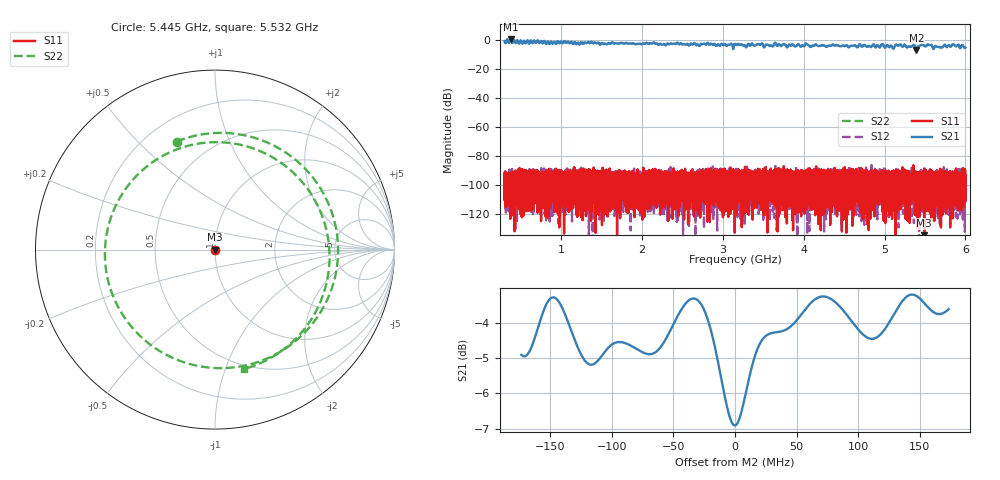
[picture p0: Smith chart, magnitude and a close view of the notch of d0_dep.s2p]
!Agilent Technologies,N5230C,SG49000117,A.08.50.07
!Agilent N5230C: A.08.50.07
!Date: Sunday, March 17, 2024 07:09:39
!Correction: S11(Off)
!S21(Off)
!S12(Off)
!S22(Off)
!S2P File: Measurements: S11, S21, S12, S22:
# Hz S  RI  R 50
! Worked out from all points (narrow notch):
!   20001 points, 300 MHz to 6 GHz, reference 50 ohm
!   highest |S21| = 0.48 dB at 374.4 MHz (marker M1); lowest = -6.9 dB at 5.393 GHz (marker M2)
!   notch at M2: 3.6 dB deep, 28.9 MHz wide at half that depth
!   lowest |S11| = -138.0 dB at 5.49 GHz (marker M3), VSWR 1.00, Z = 50 - j5.98e-06 ohm
!   |S11| at or under -10 dB: start of sweep to end of sweep
!   |S22| runs from -6.9 to 0.5 dB; largest |S21 - S12| = 1.1
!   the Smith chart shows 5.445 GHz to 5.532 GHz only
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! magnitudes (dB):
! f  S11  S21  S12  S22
! 300 MHz  -104.3  -0.8  -110.9  -0.8
! 374.4 MHz  -97.6  0.5  -109.1  0.5
! 1.25 GHz  -97.3  -1.7  -95.9  -1.7
! 1.355 GHz  -100.9  -2.3  -98.8  -2.3
! 2.2 GHz  -96.5  -3.3  -97.3  -3.3
! 3.15 GHz  -102.0  -2.7  -92.0  -2.7
! 3.275 GHz  -97.5  -4.2  -93.1  -4.1
! 3.462 GHz  -92.2  -3.3  -107.4  -3.3
! 3.599 GHz  -99.6  -3.8  -96.3  -3.7
! 3.665 GHz  -92.9  -3.6  -99.5  -3.5
! 3.98 GHz  -96.2  -3.9  -96.0  -3.8
! 4.039 GHz  -95.8  -2.9  -109.1  -2.8
! 4.1 GHz  -96.4  -4.3  -104.6  -4.2
! 5.05 GHz  -107.4  -4.9  -97.0  -4.8
! 5.35 GHz  -103.5  -3.6  -98.5  -3.6
! 5.393 GHz  -102.3  -6.9  -93.9  -6.9
! 5.49 GHz  -138.0  -4.1  -105.7  -4.1
! 5.556 GHz  -99.1  -3.7  -96.2  -3.8
! 5.616 GHz  -110.8  -5.1  -102.4  -5.2
! 5.694 GHz  -100.2  -5.2  -108.4  -5.2
! 5.853 GHz  -100.6  -3.2  -93.1  -3.3
! 6 GHz  -97.0  -5.3  -95.1  -5.4
